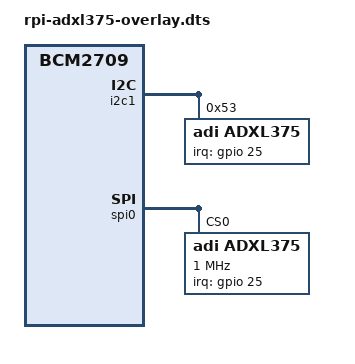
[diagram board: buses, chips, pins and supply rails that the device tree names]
// SPDX-License-Identifier: GPL-2.0
/dts-v1/;
/plugin/;

/ {
	compatible = "brcm,bcm2708", "brcm,bcm2709";
};

&i2c1 {
	#address-cells = <1>;
	#size-cells = <0>;
	status = "okay";

	adxl375@53 {
		compatible = "adi,adxl375";
		reg = <0x53>;
		interrupt-parent = <&gpio>;
		interrupts = <25 2>;
	};
};

&spi0 {
	#address-cells = <1>;
	#size-cells = <0>;
	status = "okay";

	adxl375@0 {
		compatible = "adi,adxl375";
		reg = <0>;
		spi-max-frequency = <1000000>;
		spi-cpha;
		spi-cpol;
		interrupts = <25 2>;
		interrupt-parent = <&gpio>;
	};
};
